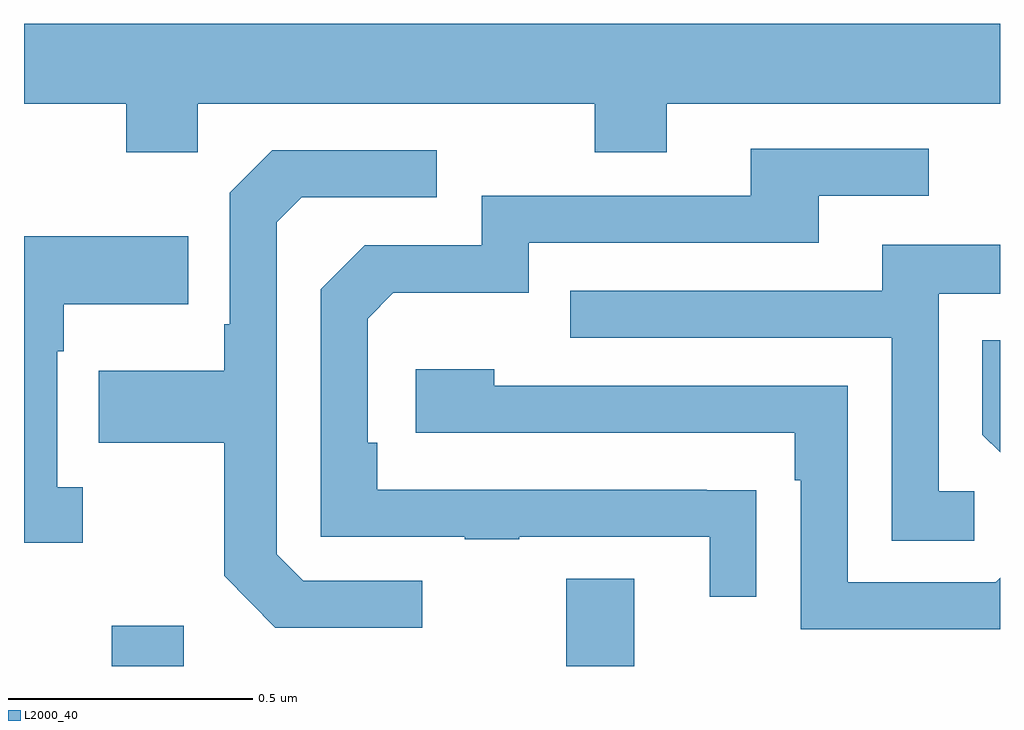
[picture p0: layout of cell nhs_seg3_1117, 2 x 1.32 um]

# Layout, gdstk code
import gdstk
lib = gdstk.Library(unit=1e-6, precision=1e-09)
def R(c, l, rs):  # rectangles x0, y0, x1, y1
    for r in rs: c.add(gdstk.rectangle(r[:2], r[2:], *l))
def P(c, l, *ps):  # polygons
    for p in ps: c.add(gdstk.Polygon(p, *l))
L2000_40 = (2000, 40)

nhs_seg3_1117 = lib.new_cell('nhs_seg3_1117')
R(nhs_seg3_1117, L2000_40, [(124.18,730.4,124.327,730.483), (125.111,730.4,125.251,730.579)])
P(nhs_seg3_1117, L2000_40, [(124.356,731.552),(125.17,731.552),(125.17,731.453),(125.317,731.453),(125.317,731.552),(126,731.552),(126,731.716),(124,731.716),(124,731.552),(124.21,731.552),(124.21,731.453),(124.356,731.453)],
  [(125.501,730.76),(125.399,730.76),(125.399,730.761),(124.724,730.761),(124.724,730.858),(124.704,730.858),(124.704,731.112),(124.757,731.165),(125.034,731.165),(125.034,731.268),(125.629,731.268),(125.629,731.364),(125.854,731.364),(125.854,731.46),(125.489,731.46),(125.489,731.364),(124.938,731.364),(124.938,731.262),(124.698,731.262),(124.608,731.172),(124.608,730.665),(124.903,730.665),(124.903,730.66),(125.015,730.66),(125.015,730.665),(125.405,730.665),(125.405,730.542),(125.501,730.542)],
  [(124.816,730.575),(124.572,730.575),(124.518,730.629),(124.518,731.31),(124.569,731.361),(124.846,731.361),(124.846,731.457),(124.509,731.457),(124.422,731.37),(124.422,731.101),(124.41,731.101),(124.41,731.005),(124.153,731.005),(124.153,730.858),(124.41,730.858),(124.41,730.585),(124.515,730.479),(124.816,730.479)],
  [(124.12,730.766),(124.068,730.766),(124.068,731.045),(124.081,731.045),(124.081,731.141),(124.337,731.141),(124.337,731.281),(124,731.281),(124,730.653),(124.12,730.653)],
  [(125.947,730.758),(125.874,730.758),(125.874,731.163),(126,731.163),(126,731.263),(125.759,731.263),(125.759,731.169),(125.119,731.169),(125.119,731.073),(125.778,731.073),(125.778,730.657),(125.947,730.657)],
  [(126,731.068),(125.964,731.068),(125.964,730.874),(126,730.838)],
  [(126,730.581),(125.991,730.572),(125.688,730.572),(125.688,730.974),(124.964,730.974),(124.964,731.008),(124.803,731.008),(124.803,730.878),(125.579,730.878),(125.579,730.781),(125.592,730.781),(125.592,730.476),(126,730.476)])

lib.write_gds('nhs_seg3_1117.gds')
